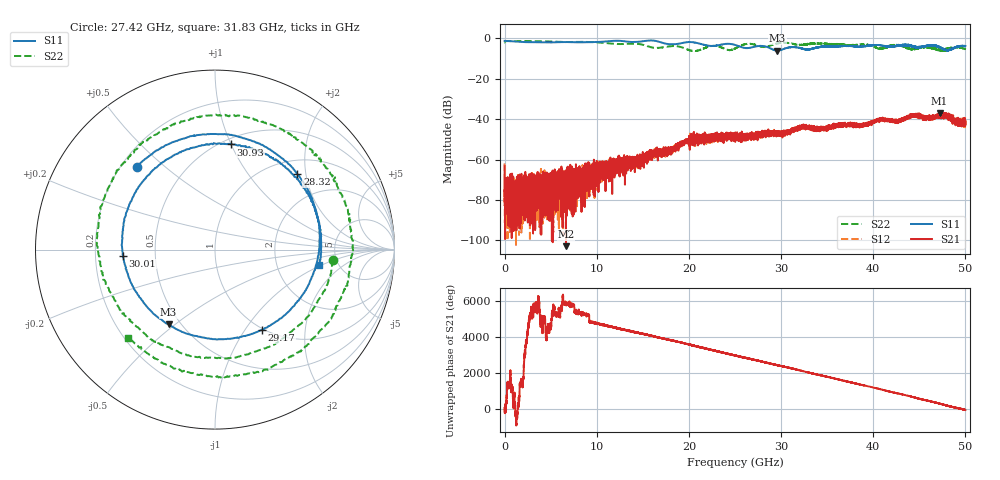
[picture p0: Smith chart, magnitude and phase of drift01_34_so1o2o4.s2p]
!Created with skrf (http://scikit-rf.org).
# Hz S RI R 50.0
!freq ReS11 ImS11 ReS21 ImS21 ReS12 ImS12 ReS22 ImS22
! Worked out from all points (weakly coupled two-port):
!   10001 points, 300 kHz to 50 GHz, reference 50 ohm
!   highest |S21| = -36.99 dB at 47.2 GHz (marker M1); lowest = -102.9 dB at 6.66 GHz (marker M2)
!   lowest |S11| = -6.2 dB at 29.61 GHz (marker M3), VSWR 2.92, Z = 21.6 - j23.7 ohm
!   |S11| at or under -10 dB: nowhere
!   |S22| runs from -6.4 to -1.4 dB; largest |S21 - S12| = 0.0035
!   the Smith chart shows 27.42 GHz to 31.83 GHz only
!   S11 on the Smith chart (normalised r, x): 27.42 GHz: 0.26, +0.40; 28.32 GHz: 1.31, +1.79; 29.17 GHz: 0.98, -1.20; 30.01 GHz: 0.32, -0.03; 30.93 GHz: 0.55, +1.00; 31.83 GHz: 3.59, -0.95
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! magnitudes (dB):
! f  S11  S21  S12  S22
! 300 kHz  -1.3  -63.4  -62.0  -2.1
! 255.3 MHz  -1.4  -73.2  -80.9  -1.4
! 360.3 MHz  -1.4  -72.8  -68.4  -1.4
! 5.64 GHz  -2.0  -72.1  -69.5  -1.7
! 6.66 GHz  -1.9  -102.9  -79.3  -1.9
! 7.195 GHz  -2.0  -65.1  -68.4  -1.9
! 8.335 GHz  -2.0  -81.0  -68.1  -1.8
! 8.945 GHz  -2.0  -64.9  -72.7  -1.8
! 16.67 GHz  -1.6  -56.7  -56.3  -4.8
! 20.41 GHz  -2.0  -49.9  -50.9  -6.3
! 25 GHz  -3.3  -49.0  -48.2  -5.1
! 27.42 GHz  -4.0  -47.7  -47.9  -3.6
! 28.32 GHz  -4.1  -47.3  -47.2  -4.3
! 29.17 GHz  -5.7  -46.8  -46.6  -3.1
! 29.61 GHz  -6.2  -48.0  -48.1  -2.5
! 30.01 GHz  -5.8  -46.7  -47.1  -2.3
! 30.93 GHz  -4.5  -46.0  -46.5  -2.5
! 31.83 GHz  -4.6  -44.2  -44.7  -3.2
! 33.34 GHz  -5.2  -44.8  -44.4  -2.7
! 41.67 GHz  -4.3  -40.1  -40.4  -4.0
! 47.2 GHz  -4.4  -37.0  -38.1  -6.0
! 50 GHz  -3.9  -42.2  -41.5  -5.4
